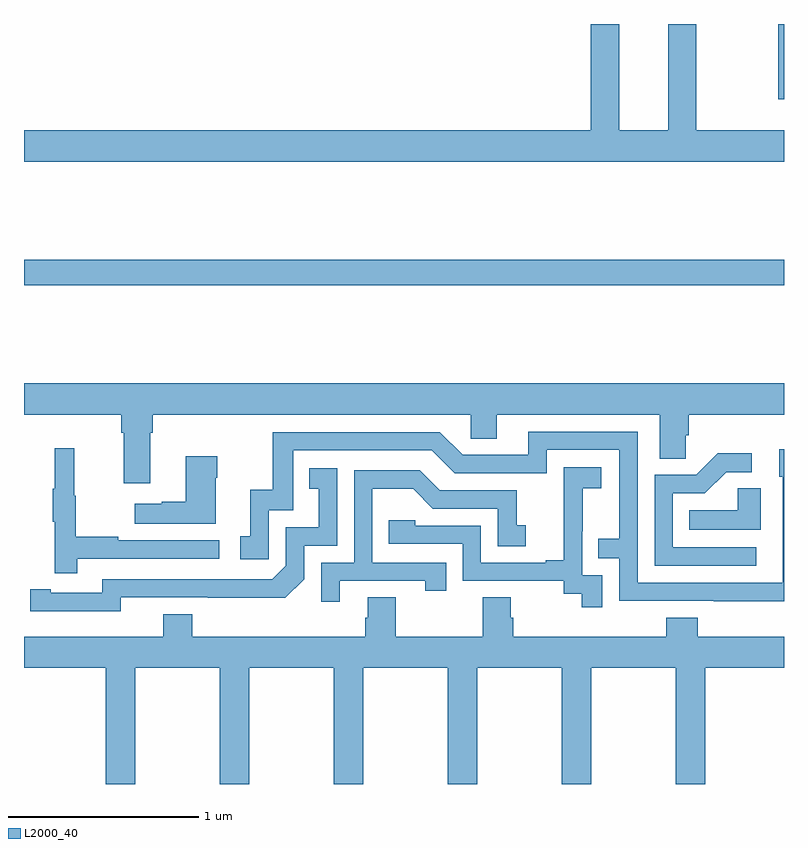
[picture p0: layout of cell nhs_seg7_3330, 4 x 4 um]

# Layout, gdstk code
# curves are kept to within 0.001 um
import gdstk
lib = gdstk.Library(unit=1e-6, precision=1e-09)
def R(c, l, rs):  # rectangles x0, y0, x1, y1
    for r in rs: c.add(gdstk.rectangle(r[:2], r[2:], *l))
def P(c, l, *ps):  # polygons
    for p in ps: c.add(gdstk.Polygon(p, *l))
L2000_40 = (2000, 40)

nhs_seg7_3330 = lib.new_cell('nhs_seg7_3330')
R(nhs_seg7_3330, L2000_40, [(323,1006.624,327,1006.76), (326.971,1007.604,327,1008)])
P(nhs_seg7_3330, L2000_40, [(327,1007.44),(326.538,1007.44),(326.538,1008),(326.39,1008),(326.39,1007.44),(326.134,1007.44),(326.134,1008),(325.982,1008),(325.982,1007.44),(323,1007.44),(323,1007.276),(327,1007.276)],
  [(323.665,1005.848),(323.678,1005.848),(323.678,1005.944),(325.35,1005.944),(325.35,1005.817),(325.489,1005.817),(325.489,1005.944),(326.345,1005.944),(326.345,1005.712),(326.484,1005.712),(326.484,1005.835),(326.498,1005.835),(326.498,1005.944),(327,1005.944),(327,1006.108),(323,1006.108),(323,1005.944),(323.513,1005.944),(323.513,1005.848),(323.525,1005.848),(323.525,1005.582),(323.665,1005.582)],
  [(327,1005.763),(326.975,1005.763),(326.975,1005.618),(326.994,1005.618),(326.994,1005.06),(326.229,1005.06),(326.229,1005.855),(325.655,1005.855),(325.655,1005.732),(325.308,1005.732),(325.188,1005.852),(324.309,1005.852),(324.309,1005.55),(324.191,1005.55),(324.191,1005.303),(324.138,1005.303),(324.138,1005.183),(324.288,1005.183),(324.288,1005.441),(324.417,1005.441),(324.417,1005.756),(325.146,1005.756),(325.266,1005.636),(325.752,1005.636),(325.752,1005.759),(326.133,1005.759),(326.133,1005.29),(326.023,1005.29),(326.023,1005.189),(326.133,1005.189),(326.133,1004.964),(327,1004.963)],
  [(323.279,1005.186),(324.028,1005.186),(324.028,1005.282),(323.495,1005.282),(323.495,1005.302),(323.272,1005.302),(323.272,1005.516),(323.264,1005.516),(323.264,1005.766),(323.162,1005.766),(323.162,1005.553),(323.151,1005.553),(323.151,1005.379),(323.162,1005.379),(323.162,1005.108),(323.279,1005.108)],
  [(326.854,1005.246),(326.415,1005.246),(326.415,1005.531),(326.584,1005.531),(326.695,1005.642),(326.83,1005.642),(326.83,1005.74),(326.651,1005.74),(326.538,1005.627),(326.319,1005.627),(326.319,1005.15),(326.854,1005.15)],
  [(324.01,1005.611),(324.018,1005.611),(324.018,1005.724),(323.852,1005.724),(323.852,1005.485),(323.726,1005.485),(323.726,1005.475),(323.583,1005.475),(323.583,1005.371),(324.01,1005.371)],
  [(326.043,1005.099),(325.938,1005.099),(325.938,1005.329),(325.94,1005.329),(325.94,1005.557),(326.038,1005.557),(326.038,1005.667),(325.84,1005.667),(325.84,1005.461),(325.841,1005.461),(325.841,1005.178),(325.745,1005.178),(325.745,1005.165),(325.404,1005.165),(325.404,1005.36),(325.059,1005.36),(325.059,1005.387),(324.919,1005.387),(324.919,1005.264),(325.308,1005.264),(325.308,1005.069),(325.842,1005.069),(325.842,1005.001),(325.935,1005.001),(325.935,1004.931),(326.043,1004.931)],
  [(323.508,1004.982),(324.376,1004.981),(324.474,1005.078),(324.474,1005.255),(324.648,1005.255),(324.648,1005.661),(324.502,1005.661),(324.502,1005.555),(324.551,1005.555),(324.551,1005.351),(324.378,1005.351),(324.378,1005.15),(324.306,1005.078),(323.412,1005.078),(323.412,1005.006),(323.14,1005.006),(323.14,1005.026),(323.032,1005.026),(323.032,1004.91),(323.508,1004.909)],
  [(324.661,1005.069),(325.112,1005.069),(325.112,1005.018),(325.223,1005.018),(325.223,1005.165),(324.834,1005.165),(324.834,1005.554),(325.048,1005.554),(325.152,1005.45),(325.494,1005.45),(325.494,1005.252),(325.642,1005.252),(325.642,1005.361),(325.593,1005.361),(325.593,1005.546),(325.189,1005.546),(325.084,1005.651),(324.738,1005.651),(324.738,1005.165),(324.564,1005.165),(324.564,1004.958),(324.661,1004.958)],
  [(326.878,1005.557),(326.757,1005.557),(326.757,1005.442),(326.5,1005.442),(326.5,1005.338),(326.878,1005.338)],
  [(323,1004.612),(323.431,1004.612),(323.431,1004),(323.586,1004),(323.586,1004.612),(324.031,1004.612),(324.031,1004),(324.186,1004),(324.186,1004.612),(324.631,1004.612),(324.631,1004),(324.786,1004),(324.786,1004.612),(325.231,1004.612),(325.231,1004),(325.386,1004),(325.386,1004.612),(325.831,1004.612),(325.831,1004),(325.986,1004),(325.986,1004.612),(326.431,1004.612),(326.431,1004),(326.586,1004),(326.586,1004.612),(327,1004.612),(327,1004.776),(326.546,1004.776),(326.546,1004.875),(326.381,1004.875),(326.381,1004.776),(325.574,1004.776),(325.574,1004.874),(325.561,1004.874),(325.561,1004.984),(325.414,1004.984),(325.414,1004.776),(324.957,1004.776),(324.957,1004.984),(324.809,1004.984),(324.809,1004.874),(324.797,1004.874),(324.797,1004.776),(323.885,1004.776),(323.885,1004.893),(323.732,1004.893),(323.732,1004.776),(323,1004.776)])

lib.write_gds('nhs_seg7_3330.gds')
